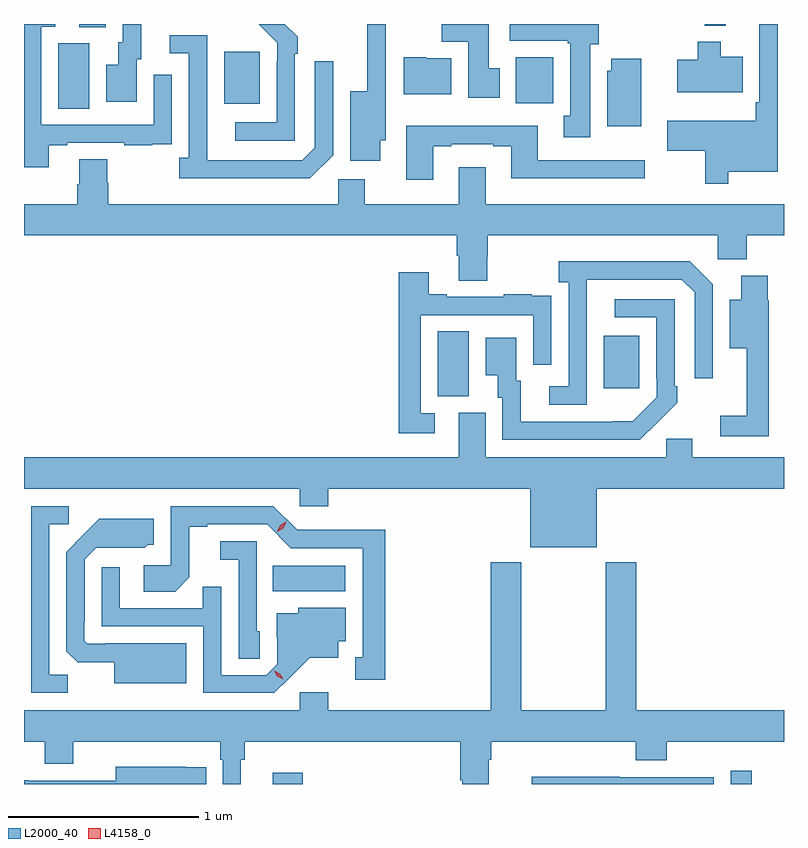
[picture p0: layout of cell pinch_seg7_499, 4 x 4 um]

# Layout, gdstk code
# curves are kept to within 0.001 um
import gdstk
lib = gdstk.Library(unit=1e-6, precision=1e-09)
def R(c, l, rs):  # rectangles x0, y0, x1, y1
    for r in rs: c.add(gdstk.rectangle(r[:2], r[2:], *l))
def P(c, l, *ps):  # polygons
    for p in ps: c.add(gdstk.Polygon(p, *l))
L2000_40 = (2000, 40)
L4158_0 = (4158, 0)

pinch_seg7_499 = lib.new_cell('pinch_seg7_499')
R(pinch_seg7_499, L2000_40, [(122.714,1073.653,122.873,1073.713), (125.127,1073.653,125.236,1073.722), (122.716,1074.668,123.097,1074.802), (123.584,1075.693,123.748,1076.036), (124.457,1075.737,124.645,1076.011), (121.586,1077.208,121.75,1077.552), (122.459,1077.233,122.647,1077.508), (123.995,1077.236,124.192,1077.478), (121.697,1077.637,121.837,1077.653), (124.989,1077.644,125.099,1077.653)])
P(pinch_seg7_499, L2000_40, [(123.91,1077.42),(123.853,1077.42),(123.853,1077.653),(123.604,1077.653),(123.604,1077.56),(123.743,1077.56),(123.743,1077.264),(123.91,1077.264)],
  [(123.28,1077.041),(123.309,1077.041),(123.309,1077.653),(123.212,1077.653),(123.212,1077.298),(123.122,1077.298),(123.122,1076.934),(123.28,1076.934)],
  [(125.113,1076.876),(125.374,1076.876),(125.374,1077.653),(125.277,1077.653),(125.277,1077.241),(125.257,1077.241),(125.257,1077.145),(124.791,1077.145),(124.791,1076.987),(124.992,1076.987),(124.992,1076.811),(125.113,1076.811)],
  [(121.999,1077.468),(122.023,1077.468),(122.023,1077.653),(121.926,1077.653),(121.926,1077.558),(121.901,1077.558),(121.901,1077.439),(121.838,1077.439),(121.838,1077.243),(121.999,1077.243)],
  [(122.832,1077.497),(122.847,1077.497),(122.847,1077.585),(122.779,1077.653),(122.642,1077.653),(122.739,1077.555),(122.739,1077.455),(122.736,1077.455),(122.736,1077.135),(122.517,1077.135),(122.517,1077.039),(122.832,1077.039)],
  [(124.387,1077.546),(124.432,1077.546),(124.432,1077.653),(123.963,1077.653),(123.963,1077.566),(124.267,1077.566),(124.267,1077.553),(124.28,1077.553),(124.28,1077.17),(124.247,1077.17),(124.247,1077.057),(124.387,1077.057)],
  [(121.537,1077.015),(121.633,1077.015),(121.633,1077.027),(121.933,1077.027),(121.933,1077.015),(122.081,1077.015),(122.081,1077.021),(122.183,1077.021),(122.183,1077.13),(122.184,1077.13),(122.184,1077.385),(122.088,1077.385),(122.088,1077.123),(121.497,1077.123),(121.497,1077.639),(121.57,1077.639),(121.57,1077.653),(121.406,1077.653),(121.406,1076.898),(121.537,1076.898)],
  [(123.033,1076.963),(123.033,1077.457),(122.937,1077.457),(122.937,1077.003),(122.871,1076.937),(122.371,1076.937),(122.37,1077.594),(122.172,1077.594),(122.172,1077.498),(122.274,1077.498),(122.274,1076.95),(122.223,1076.95),(122.223,1076.84),(122.91,1076.84)],
  [(125.188,1077.481),(125.074,1077.481),(125.074,1077.559),(124.952,1077.559),(124.952,1077.465),(124.844,1077.465),(124.844,1077.293),(125.188,1077.293)],
  [(123.655,1077.472),(123.522,1077.472),(123.522,1077.478),(123.404,1077.478),(123.404,1077.284),(123.655,1077.284)],
  [(124.654,1077.469),(124.496,1077.469),(124.496,1077.408),(124.475,1077.408),(124.475,1077.116),(124.654,1077.116)],
  [(123.559,1077.009),(123.655,1077.009),(123.655,1077.021),(123.875,1077.021),(123.875,1077.009),(123.971,1077.009),(123.971,1076.84),(124.672,1076.84),(124.672,1076.937),(124.111,1076.937),(124.111,1077.118),(123.419,1077.118),(123.419,1076.832),(123.559,1076.832)],
  [(123.843,1076.427),(123.848,1076.427),(123.848,1076.54),(125.058,1076.54),(125.058,1076.414),(125.21,1076.414),(125.21,1076.54),(125.406,1076.54),(125.406,1076.704),(123.835,1076.704),(123.835,1076.899),(123.695,1076.899),(123.695,1076.704),(123.199,1076.704),(123.199,1076.836),(123.06,1076.836),(123.06,1076.704),(121.85,1076.704),(121.85,1076.817),(121.845,1076.817),(121.845,1076.942),(121.697,1076.942),(121.697,1076.81),(121.685,1076.81),(121.685,1076.704),(121.406,1076.704),(121.406,1076.54),(123.683,1076.54),(123.683,1076.434),(123.695,1076.434),(123.695,1076.302),(123.843,1076.302)],
  [(124.368,1076.107),(124.369,1076.307),(124.869,1076.307),(124.935,1076.241),(124.935,1075.788),(125.031,1075.788),(125.031,1076.283),(124.91,1076.404),(124.221,1076.404),(124.221,1076.294),(124.272,1076.294),(124.272,1075.746),(124.17,1075.746),(124.17,1075.65),(124.368,1075.65)],
  [(123.568,1075.605),(123.495,1075.605),(123.495,1076.121),(124.086,1076.121),(124.086,1075.86),(124.182,1075.86),(124.182,1076.114),(124.181,1076.114),(124.181,1076.223),(124.079,1076.223),(124.079,1076.23),(123.931,1076.23),(123.931,1076.217),(123.631,1076.217),(123.631,1076.23),(123.535,1076.23),(123.535,1076.347),(123.379,1076.347),(123.379,1075.5),(123.568,1075.5)],
  [(125.327,1076.199),(125.321,1076.199),(125.321,1076.329),(125.18,1076.329),(125.18,1076.203),(125.12,1076.203),(125.12,1075.946),(125.21,1075.946),(125.21,1075.591),(125.07,1075.591),(125.07,1075.482),(125.327,1075.482)],
  [(124.739,1075.555),(124.74,1075.554),(124.845,1075.659),(124.845,1075.747),(124.83,1075.747),(124.83,1076.205),(124.515,1076.205),(124.515,1076.109),(124.734,1076.109),(124.734,1075.789),(124.737,1075.789),(124.737,1075.689),(124.609,1075.561),(124.021,1075.56),(124.021,1075.776),(123.997,1075.776),(123.997,1076.002),(123.836,1076.002),(123.836,1075.805),(123.899,1075.805),(123.899,1075.686),(123.924,1075.686),(123.924,1075.464),(124.648,1075.464)],
  [(124.42,1075.208),(125.406,1075.208),(125.406,1075.372),(124.924,1075.372),(124.924,1075.47),(124.785,1075.47),(124.785,1075.372),(123.835,1075.372),(123.835,1075.608),(123.695,1075.608),(123.695,1075.372),(121.406,1075.372),(121.406,1075.208),(122.856,1075.208),(122.856,1075.115),(123.008,1075.115),(123.008,1075.208),(124.07,1075.208),(124.07,1074.899),(124.42,1074.899)],
  [(121.635,1074.227),(121.539,1074.227),(121.539,1075.02),(121.642,1075.02),(121.642,1075.116),(121.443,1075.116),(121.443,1074.132),(121.635,1074.132)],
  [(123.307,1074.992),(123.066,1074.992),(123.066,1074.99),(122.844,1074.99),(122.718,1075.116),(122.178,1075.116),(122.178,1074.804),(122.037,1074.804),(122.037,1074.664),(122.201,1074.664),(122.277,1074.74),(122.277,1075.008),(122.371,1075.008),(122.371,1075.02),(122.685,1075.02),(122.811,1074.894),(123.188,1074.894),(123.188,1074.321),(123.149,1074.321),(123.149,1074.201),(123.307,1074.201)],
  [(122.26,1074.394),(121.84,1074.394),(121.84,1074.39),(121.74,1074.39),(121.722,1074.408),(121.722,1074.508),(121.725,1074.508),(121.725,1074.837),(121.785,1074.897),(122.042,1074.896),(122.058,1074.912),(122.089,1074.912),(122.089,1075.048),(121.801,1075.048),(121.629,1074.874),(121.629,1074.352),(121.688,1074.293),(121.88,1074.293),(121.88,1074.182),(122.26,1074.182)],
  [(122.646,1074.456),(122.631,1074.456),(122.631,1074.93),(122.439,1074.93),(122.439,1074.833),(122.535,1074.833),(122.535,1074.313),(122.646,1074.313)],
  [(122.548,1073.78),(122.567,1073.78),(122.567,1073.876),(123.701,1073.876),(123.701,1073.674),(123.713,1073.674),(123.713,1073.653),(123.853,1073.653),(123.853,1073.78),(123.866,1073.78),(123.866,1073.876),(124.625,1073.876),(124.625,1073.777),(124.79,1073.777),(124.79,1073.876),(125.406,1073.876),(125.406,1074.04),(124.628,1074.04),(124.628,1074.82),(124.468,1074.82),(124.468,1074.04),(124.023,1074.04),(124.023,1074.82),(123.863,1074.82),(123.863,1074.04),(123.008,1074.04),(123.008,1074.136),(122.856,1074.136),(122.856,1074.04),(121.406,1074.04),(121.406,1073.876),(121.514,1073.876),(121.514,1073.759),(121.666,1073.759),(121.666,1073.876),(122.438,1073.876),(122.438,1073.78),(122.451,1073.78),(122.451,1073.653),(122.548,1073.653)],
  [(122.806,1074.215),(122.909,1074.317),(123.061,1074.317),(123.061,1074.404),(123.1,1074.404),(123.1,1074.58),(122.85,1074.58),(122.85,1074.553),(122.735,1074.553),(122.735,1074.424),(122.739,1074.424),(122.739,1074.282),(122.682,1074.225),(122.445,1074.225),(122.445,1074.692),(122.347,1074.692),(122.347,1074.579),(121.911,1074.579),(121.911,1074.793),(121.815,1074.793),(121.815,1074.483),(122.349,1074.483),(122.349,1074.132),(122.722,1074.132)],
  [(122.366,1073.742),(122.258,1073.742),(122.258,1073.743),(121.89,1073.743),(121.89,1073.67),(121.43,1073.67),(121.43,1073.672),(121.406,1073.672),(121.406,1073.653),(122.366,1073.653)],
  [(125.037,1073.688),(124.541,1073.688),(124.541,1073.69),(124.078,1073.69),(124.078,1073.653),(125.037,1073.653)])
P(pinch_seg7_499, L4158_0, [(122.738,1074.981),(122.738,1074.981),(122.755,1075.014),(122.787,1075.032),(122.787,1075.032),(122.787,1075.032),(122.77,1075),(122.738,1074.981)],
  [(122.771,1074.204),(122.74,1074.219),(122.722,1074.249),(122.722,1074.249),(122.722,1074.249),(122.753,1074.234),(122.771,1074.204),(122.771,1074.204)])

lib.write_gds('pinch_seg7_499.gds')
